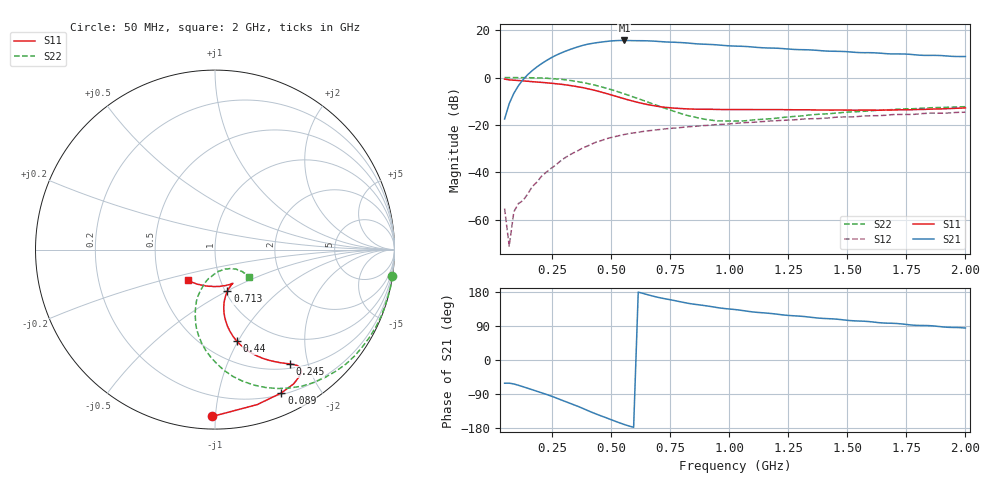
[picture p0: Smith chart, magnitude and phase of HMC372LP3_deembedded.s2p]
!Hittite Microwave Corporation
!12 Elizabeth Drive
!Chelmsford, MA 01824
!Tel: 978-250-3343
!Fax: 978-250-3373
!Device: HMC372LP3, 750-1000 MHz, GaAs PHEMT MMIC Low Noise Amplifier in leadless QFN SMT package
!Misc: Vs = 5V, data is deembedded to the pins of the device, Room
# MHZ S MA R 50
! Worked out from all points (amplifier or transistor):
!   101 points, 50 MHz to 2 GHz, reference 50 ohm
!   highest |S21| = 15.7 dB at 557 MHz (marker M1)
!   |S21| within 3 dB of that: 351 MHz to 1.129 GHz (777.7 MHz wide, 105 % of centre)
!   unconditionally stable (mu >= 1): 76.94 MHz to end of sweep
!   at 362 MHz: K = 1.33, MAG = 18.5 dB, |S12| = -30.8 dB
!   at 1.025 GHz: K = 1.17, MAG = 13.8 dB, |S12| = -19.3 dB
!   at 2 GHz: K = 1.08, MAG = 10.0 dB, |S12| = -14.6 dB
!   S11 on the Smith chart (normalised r, x): 50 MHz: 0.07, -0.98; 89 MHz: 0.22, -1.54; 245 MHz: 0.56, -1.71; 440 MHz: 0.70, -0.99; 713 MHz: 1.02, -0.50; 2 GHz: 0.70, -0.25
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50  0.93 -91.0  0.134 -61.3  0.001728 -95.2  1 -8.6
69.5  0.895 -74.7  0.282 -61.1  0.0002776 -120.2  1 -12.0
89  0.88 -65.1  0.465 -63.2  0.001476 172.9  0.999 -15.3
167  0.82 -54.4  1.404 -78.4  0.005002 173.7  0.99 -29.6
245  0.761 -56.8  2.584 -94.8  0.012 165.4  0.955 -45.2
284  0.727 -60.0  3.223 -104.1  0.017 160.5  0.923 -53.3
323  0.686 -64.0  3.852 -113.4  0.023 156.1  0.876 -61.7
381.5  0.612 -70.6  4.788 -127.8  0.033 147.3  0.785 -74.0
440  0.524 -76.6  5.45 -143.2  0.044 137.3  0.676 -85.6
498.5  0.435 -80.7  5.915 -156.9  0.054 127.7  0.562 -95.4
557  0.357 -81.9  6.069 -170.4  0.063 119.0  0.452 -103.2
635  0.283 -79.0  5.99 175.8  0.073 110.0  0.332 -108.8
713  0.241 -73.3  5.728 163.5  0.081 102.7  0.24 -109.4
830  0.218 -65.6  5.324 149.3  0.092 94.8  0.156 -99.7
947  0.213 -62.4  4.911 138.6  0.102 89.0  0.122 -80.4
1025  0.212 -62.6  4.615 133.2  0.108 86.0  0.121 -68.3
1122.5  0.211 -64.5  4.316 125.5  0.116 82.6  0.13 -55.6
1356.5  0.208 -75.0  3.801 112.0  0.136 75.5  0.165 -42.2
1512.5  0.206 -86.0  3.474 104.0  0.148 71.6  0.188 -39.7
1688  0.207 -100.9  3.153 97.0  0.165 68.5  0.211 -38.4
1785.5  0.211 -109.9  3.027 91.6  0.168 66.1  0.221 -39.0
2000  0.229 -131.6  2.777 84.4  0.186 61.3  0.243 -39.4
